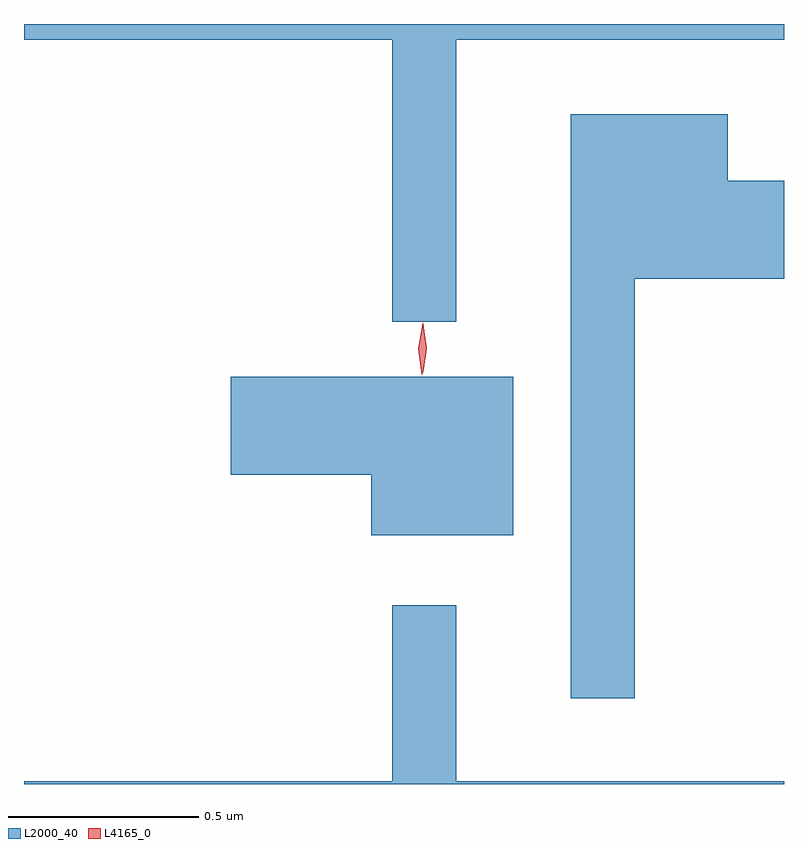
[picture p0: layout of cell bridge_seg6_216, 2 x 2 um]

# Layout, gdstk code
import gdstk
lib = gdstk.Library(unit=1e-6, precision=1e-09)
def P(c, l, *ps):  # polygons
    for p in ps: c.add(gdstk.Polygon(p, *l))
L2000_40 = (2000, 40)
L4165_0 = (4165, 0)

bridge_seg6_216 = lib.new_cell('bridge_seg6_216')
P(bridge_seg6_216, L2000_40, [(1060.969,1532.276),(1061.832,1532.276),(1061.832,1532.317),(1059.832,1532.317),(1059.832,1532.276),(1060.801,1532.276),(1060.801,1531.533),(1060.969,1531.533)],
  [(1061.439,1531.646),(1061.832,1531.646),(1061.832,1531.904),(1061.684,1531.904),(1061.684,1532.079),(1061.271,1532.079),(1061.271,1530.543),(1061.439,1530.543)],
  [(1061.119,1531.389),(1060.376,1531.389),(1060.376,1531.131),(1060.746,1531.131),(1060.746,1530.971),(1061.119,1530.971)],
  [(1061.832,1530.324),(1060.969,1530.324),(1060.969,1530.788),(1060.801,1530.788),(1060.801,1530.324),(1059.832,1530.324),(1059.832,1530.317),(1061.832,1530.317)])
P(bridge_seg6_216, L4165_0, [(1060.882,1531.4),(1060.882,1531.4),(1060.872,1531.464),(1060.882,1531.526),(1060.882,1531.527),(1060.883,1531.526),(1060.892,1531.464),(1060.883,1531.4)],
  [(1060.879,1531.394),(1060.87,1531.462),(1060.881,1531.53),(1060.881,1531.53),(1060.882,1531.53),(1060.89,1531.462),(1060.88,1531.394),(1060.88,1531.394)])

lib.write_gds('bridge_seg6_216.gds')
